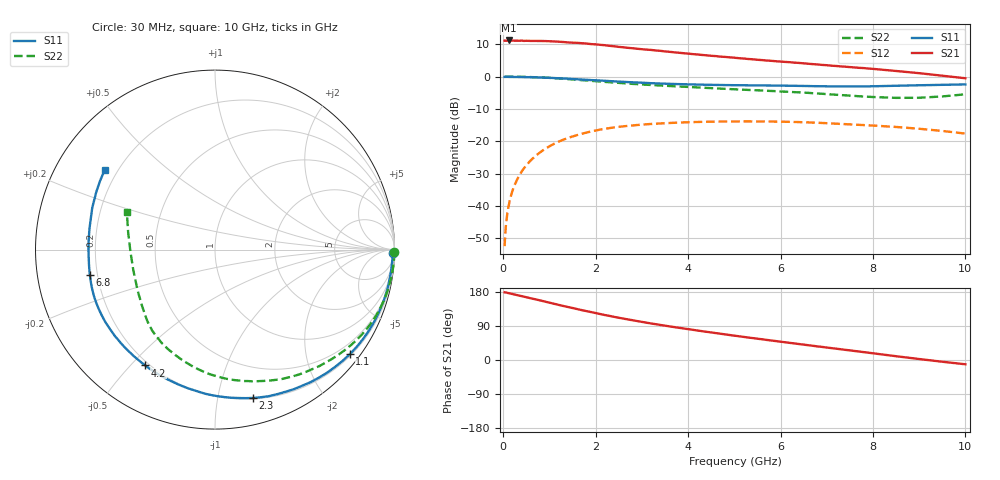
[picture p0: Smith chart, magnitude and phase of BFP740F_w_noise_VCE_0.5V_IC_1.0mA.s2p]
! Infineon Technologies  Discrete & RF Semiconductors
! BFP740F
! VCE =  0.5 V,  IC =  1.0 mA
! Common Emitter S-Parameters:  Oct 2012
# GHz  S  MA  R  50
!  f  S11  S21  S12  S22
! GHz  MAG  ANG  MAG  ANG  MAG  ANG  MAG  ANG
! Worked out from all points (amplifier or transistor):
!   99 points, 30 MHz to 10 GHz, reference 50 ohm
!   highest |S21| = 11.2 dB at 120 MHz (marker M1)
!   |S21| within 3 dB of that: start of sweep to 3.241 GHz
!   unconditionally stable (mu >= 1): nowhere
!   at 350 MHz: K = 0.01, MSG = 20.8 dB, |S12| = -30.5 dB
!   at 3.5 GHz: K = 0.23, MSG = 11.1 dB, |S12| = -14.4 dB
!   at 10 GHz: K = 0.92, MSG = 8.5 dB, |S12| = -17.6 dB
!   lowest NFmin = 0.44 dB at 450 MHz
!   S11 on the Smith chart (normalised r, x): 30 MHz: 50, -85; 1.1 GHz: 0.24, -2.90; 2.3 GHz: 0.21, -1.27; 4.2 GHz: 0.18, -0.55; 6.8 GHz: 0.17, -0.10; 10 GHz: 0.15, +0.32
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0.03  0.9898 -1.0  3.593 178.7  0.0024 94.5  0.9991 -0.8
0.06  0.9895 -2.1  3.582 178.1  0.0052 87.7  0.9995 -1.6
0.09  0.9895 -3.1  3.603 177.2  0.0079 93.1  0.9994 -2.4
0.12  0.9891 -4.2  3.62 176.4  0.0102 86.8  0.999 -3.2
0.25  0.9872 -8.7  3.586 172.7  0.0213 83.8  0.9962 -6.7
0.45  0.9831 -15.5  3.563 167.0  0.0385 79.2  0.9908 -12.0
0.8  0.9694 -27.5  3.554 157.2  0.0678 69.9  0.9719 -21.5
1.1  0.9506 -37.8  3.493 148.4  0.0916 61.8  0.947 -29.6
1.3  0.9351 -44.4  3.425 142.6  0.106 56.5  0.9265 -34.9
1.7  0.9005 -57.4  3.28 131.6  0.1308 46.7  0.8817 -45.4
2  0.8769 -66.7  3.151 123.9  0.1469 39.8  0.8503 -53.0
2.3  0.8534 -75.6  2.994 116.3  0.1602 32.7  0.8188 -60.7
2.9  0.8108 -91.4  2.693 102.7  0.1789 20.9  0.7656 -73.6
3.4  0.7818 -103.6  2.503 92.5  0.1889 12.1  0.7286 -83.2
4.2  0.7532 -121.0  2.199 77.9  0.1991 -0.4  0.6809 -95.9
5.1  0.737 -139.2  1.926 62.6  0.2031 -13.2  0.6322 -109.2
5.9  0.727 -153.3  1.729 49.9  0.2018 -24.0  0.5958 -120.5
6.7  0.7127 -166.8  1.559 37.5  0.1947 -34.8  0.554 -131.9
6.8  0.7116 -168.5  1.542 35.9  0.1938 -36.1  0.5494 -133.2
7.8  0.7062 173.8  1.355 20.8  0.1784 -47.8  0.4933 -149.5
8.5  0.7223 161.3  1.222 10.0  0.1668 -56.0  0.4694 -165.8
10  0.7577 144.2  0.943 -11.3  0.1318 -72.5  0.533 157.1
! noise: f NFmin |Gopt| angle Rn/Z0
0.45  0.44  0.65  10  0.5
0.9  0.53  0.66  18  0.46
1.5  0.68  0.66  29  0.43
1.9  0.79  0.62  40  0.44
2.4  0.93  0.59  48  0.44
3.5  1.24  0.54  72  0.41
5.5  1.77  0.47  117  0.31
10  2.79  0.61  -140  0.14
